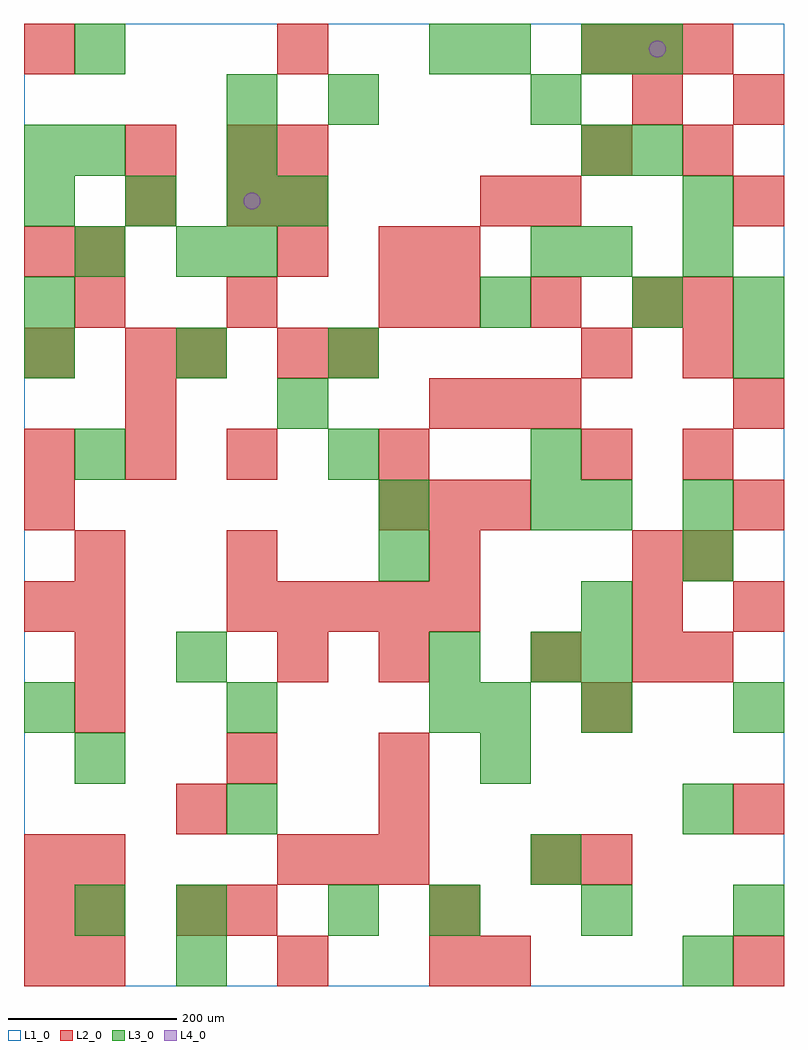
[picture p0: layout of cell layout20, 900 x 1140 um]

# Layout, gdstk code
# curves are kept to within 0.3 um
import gdstk
lib = gdstk.Library(unit=1e-6, precision=1e-09)
def R(c, l, rs):  # rectangles x0, y0, x1, y1
    for r in rs: c.add(gdstk.rectangle(r[:2], r[2:], *l))
def A(c, l, x, y, w, h, nx, ny, dx, dy):  # array of equal rectangles
    R(c, l, [(x+i*dx, y+j*dy, x+i*dx+w, y+j*dy+h) for i in range(nx) for j in range(ny)])
def P(c, l, *ps):  # polygons
    for p in ps: c.add(gdstk.Polygon(p, *l))
L1_0 = (1, 0)
L2_0 = (2, 0)
L3_0 = (3, 0)
L4_0 = (4, 0)

layout20 = lib.new_cell('layout20')
R(layout20, L1_0, [(0,0,900,1140)])
A(layout20, L2_0, 0, 0, 60, 60, 1, 3, 0, 60)
A(layout20, L2_0, 60, 0, 60, 60, 1, 3, 0, 60)
A(layout20, L2_0, 300, 0, 60, 60, 1, 3, 0, 360)
A(layout20, L2_0, 300, 120, 60, 60, 3, 1, 60, 0)
A(layout20, L2_0, 60, 300, 60, 60, 1, 4, 0, 60)
A(layout20, L2_0, 420, 360, 60, 60, 1, 3, 0, 240)
A(layout20, L2_0, 780, 360, 60, 60, 1, 4, 0, 120)
A(layout20, L2_0, 240, 420, 60, 60, 5, 1, 60, 0)
A(layout20, L2_0, 840, 420, 60, 60, 1, 3, 0, 120)
A(layout20, L2_0, 240, 480, 60, 60, 3, 1, 240, 0)
A(layout20, L2_0, 420, 540, 60, 60, 3, 1, 60, 0)
A(layout20, L2_0, 0, 600, 60, 60, 3, 1, 120, 0)
A(layout20, L2_0, 480, 660, 60, 60, 3, 1, 60, 0)
A(layout20, L2_0, 60, 780, 60, 60, 3, 1, 180, 0)
A(layout20, L2_0, 480, 780, 60, 60, 3, 1, 120, 0)
A(layout20, L2_0, 300, 840, 60, 60, 1, 3, 0, 60)
A(layout20, L2_0, 660, 1080, 60, 60, 3, 1, 60, 0)
R(layout20, L2_0, [(480,0,540,60), (540,0,600,60), (840,0,900,60), (180,60,240,120), (240,60,300,120), (480,60,540,120), (600,120,660,180), (660,120,720,180), (180,180,240,240), (420,180,480,240), (840,180,900,240), (240,240,300,300), (420,240,480,300), (660,300,720,360), (600,360,660,420), (720,360,780,420), (0,420,60,480), (720,420,780,480), (0,540,60,600), (660,600,720,660), (120,660,180,720), (0,720,60,780), (120,720,180,780), (180,720,240,780), (360,720,420,780), (660,720,720,780), (780,780,840,840), (0,840,60,900), (60,840,120,900), (480,840,540,900), (120,900,180,960), (240,900,300,960), (540,900,600,960), (600,900,660,960), (840,900,900,960), (120,960,180,1020), (240,960,300,1020), (660,960,720,1020), (780,960,840,1020), (720,1020,780,1080), (840,1020,900,1080), (0,1080,60,1140), (300,1080,360,1140)])
A(layout20, L3_0, 480, 60, 60, 60, 3, 1, 180, 0)
A(layout20, L3_0, 0, 300, 60, 60, 3, 1, 240, 0)
A(layout20, L3_0, 660, 300, 60, 60, 1, 3, 0, 60)
A(layout20, L3_0, 0, 720, 60, 60, 3, 1, 180, 0)
A(layout20, L3_0, 60, 840, 60, 60, 1, 3, 0, 120)
A(layout20, L3_0, 660, 840, 60, 60, 1, 3, 0, 120)
A(layout20, L3_0, 0, 900, 60, 60, 3, 1, 120, 0)
R(layout20, L3_0, [(180,0,240,60), (780,0,840,60), (60,60,120,120), (180,60,240,120), (360,60,420,120), (600,120,660,180), (240,180,300,240), (780,180,840,240), (60,240,120,300), (540,240,600,300), (540,300,600,360), (840,300,900,360), (180,360,240,420), (480,360,540,420), (600,360,660,420), (420,480,480,540), (780,480,840,540), (420,540,480,600), (600,540,660,600), (660,540,720,600), (780,540,840,600), (60,600,120,660), (360,600,420,660), (600,600,660,660), (300,660,360,720), (840,720,900,780), (0,780,60,840), (540,780,600,840), (720,780,780,840), (840,780,900,840), (180,840,240,900), (240,840,300,900), (600,840,660,900), (780,840,840,900), (300,900,360,960), (780,900,840,960), (0,960,60,1020), (240,960,300,1020), (720,960,780,1020), (240,1020,300,1080), (360,1020,420,1080), (600,1020,660,1080), (480,1080,540,1140), (540,1080,600,1140), (720,1080,780,1140)])
P(layout20, L4_0, [(280,930),(279.239,933.827),(277.071,937.071),(273.827,939.239),(270,940),(266.173,939.239),(262.929,937.071),(260.761,933.827),(260,930),(260.761,926.173),(262.929,922.929),(266.173,920.761),(270,920),(273.827,920.761),(277.071,922.929),(279.239,926.173)],
  [(760,1110),(759.239,1113.827),(757.071,1117.071),(753.827,1119.239),(750,1120),(746.173,1119.239),(742.929,1117.071),(740.761,1113.827),(740,1110),(740.761,1106.173),(742.929,1102.929),(746.173,1100.761),(750,1100),(753.827,1100.761),(757.071,1102.929),(759.239,1106.173)])

lib.write_gds('layout20.gds')
